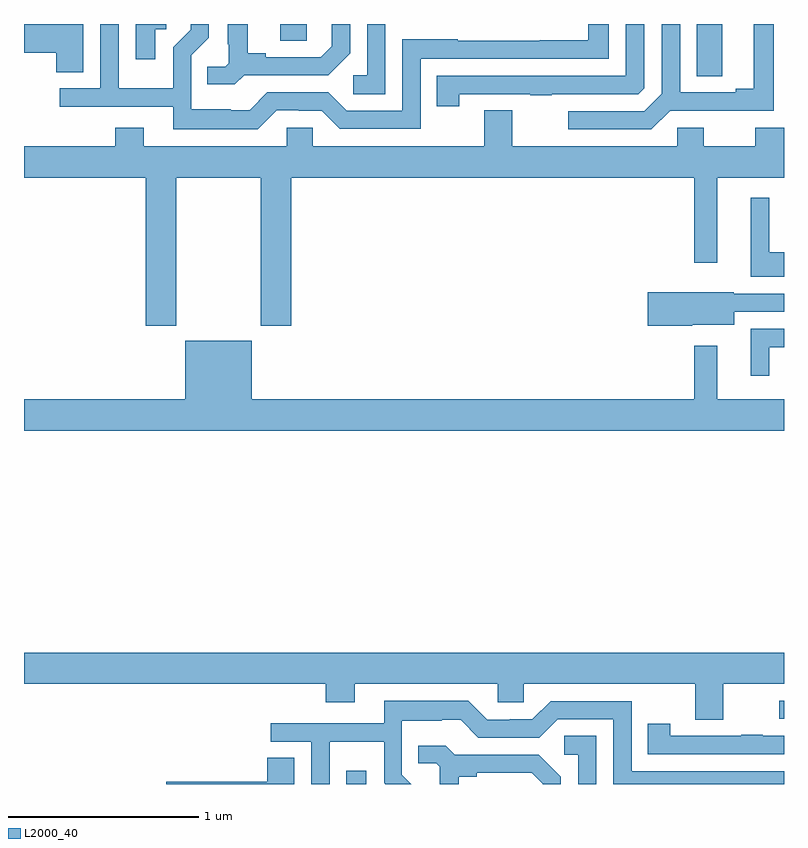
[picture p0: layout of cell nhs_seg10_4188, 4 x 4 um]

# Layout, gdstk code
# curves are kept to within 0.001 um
import gdstk
lib = gdstk.Library(unit=1e-6, precision=1e-09)
def R(c, l, rs):  # rectangles x0, y0, x1, y1
    for r in rs: c.add(gdstk.rectangle(r[:2], r[2:], *l))
def P(c, l, *ps):  # polygons
    for p in ps: c.add(gdstk.Polygon(p, *l))
L2000_40 = (2000, 40)

nhs_seg10_4188 = lib.new_cell('nhs_seg10_4188')
R(nhs_seg10_4188, L2000_40, [(346.697,1254.5,346.801,1254.571), (348.975,1254.843,349,1254.939), (348.542,1258.225,348.676,1258.5), (346.349,1258.411,346.488,1258.5)])
P(nhs_seg10_4188, L2000_40, [(346.158,1258.23),(346.6,1258.23),(346.716,1258.346),(346.716,1258.5),(346.619,1258.5),(346.619,1258.383),(346.562,1258.326),(346.273,1258.326),(346.273,1258.346),(346.177,1258.346),(346.177,1258.5),(346.073,1258.5),(346.073,1258.393),(346.077,1258.393),(346.077,1258.293),(346.059,1258.275),(345.964,1258.275),(345.964,1258.183),(346.11,1258.183)],
  [(346.902,1258.5),(346.806,1258.5),(346.806,1258.23),(346.734,1258.23),(346.734,1258.129),(346.902,1258.129)],
  [(345.313,1258.5),(345,1258.5),(345,1258.349),(345.17,1258.349),(345.17,1258.246),(345.313,1258.246)],
  [(345.691,1258.473),(345.748,1258.473),(345.748,1258.5),(345.587,1258.5),(345.587,1258.314),(345.691,1258.314)],
  [(348.4,1258.044),(348.946,1258.044),(348.946,1258.5),(348.842,1258.5),(348.842,1258.16),(348.746,1258.16),(348.746,1258.14),(348.453,1258.14),(348.453,1258.5),(348.357,1258.5),(348.357,1258.134),(348.264,1258.041),(347.865,1258.041),(347.865,1257.945),(348.301,1257.945)],
  [(347.292,1258.131),(347.665,1258.131),(347.665,1258.126),(347.777,1258.126),(347.777,1258.131),(348.234,1258.131),(348.264,1258.161),(348.264,1258.5),(348.168,1258.5),(348.168,1258.227),(347.173,1258.227),(347.173,1258.068),(347.292,1258.068)],
  [(346.329,1258.047),(346.446,1258.047),(346.446,1258.044),(346.566,1258.044),(346.662,1257.948),(347.088,1257.948),(347.088,1258.317),(348.078,1258.317),(348.078,1258.5),(347.97,1258.5),(347.97,1258.414),(347.283,1258.413),(347.283,1258.42),(346.992,1258.42),(346.992,1258.044),(346.698,1258.044),(346.602,1258.14),(346.281,1258.14),(346.188,1258.047),(346.088,1258.047),(346.088,1258.051),(345.879,1258.051),(345.879,1258.335),(345.972,1258.428),(345.972,1258.5),(345.878,1258.5),(345.878,1258.47),(345.786,1258.378),(345.786,1258.162),(345.498,1258.162),(345.498,1258.5),(345.402,1258.5),(345.402,1258.161),(345.189,1258.161),(345.189,1258.065),(345.785,1258.065),(345.785,1257.947),(346.229,1257.947)],
  [(345.801,1257.692),(346.246,1257.692),(346.246,1256.913),(346.406,1256.913),(346.406,1257.692),(348.528,1257.692),(348.528,1257.243),(348.649,1257.243),(348.649,1257.692),(349,1257.692),(349,1257.955),(348.848,1257.955),(348.848,1257.856),(348.577,1257.856),(348.577,1257.954),(348.438,1257.954),(348.438,1257.856),(347.569,1257.856),(347.569,1258.046),(347.422,1258.046),(347.422,1257.856),(346.521,1257.856),(346.521,1257.954),(346.383,1257.954),(346.383,1257.856),(345.631,1257.856),(345.631,1257.955),(345.479,1257.955),(345.479,1257.856),(345,1257.856),(345,1257.692),(345.641,1257.692),(345.641,1256.913),(345.801,1256.913)],
  [(349,1257.298),(348.922,1257.298),(348.922,1257.586),(348.824,1257.586),(348.824,1257.17),(349,1257.17)],
  [(348.516,1256.918),(348.739,1256.918),(348.739,1256.985),(349,1256.985),(349,1257.081),(348.735,1257.081),(348.735,1257.089),(348.282,1257.089),(348.282,1256.911),(348.516,1256.911)],
  [(348.922,1256.799),(349,1256.799),(349,1256.895),(348.824,1256.895),(348.824,1256.649),(348.922,1256.649)],
  [(349,1256.524),(348.649,1256.524),(348.649,1256.806),(348.528,1256.806),(348.528,1256.524),(346.198,1256.524),(346.198,1256.833),(345.848,1256.833),(345.848,1256.524),(345,1256.524),(345,1256.36),(349,1256.36)],
  [(348.679,1255.028),(349,1255.028),(349,1255.192),(345,1255.192),(345,1255.028),(346.589,1255.028),(346.589,1254.929),(346.741,1254.929),(346.741,1255.028),(347.493,1255.028),(347.493,1254.93),(347.631,1254.93),(347.631,1255.028),(348.532,1255.028),(348.532,1254.838),(348.679,1254.838)],
  [(346.608,1254.722),(346.896,1254.722),(346.896,1254.506),(346.902,1254.5),(347.038,1254.5),(346.989,1254.549),(346.989,1254.833),(347.198,1254.833),(347.198,1254.837),(347.298,1254.837),(347.391,1254.744),(347.712,1254.744),(347.808,1254.84),(348.102,1254.84),(348.102,1254.5),(349,1254.5),(349,1254.567),(348.198,1254.567),(348.198,1254.936),(347.772,1254.936),(347.676,1254.84),(347.556,1254.84),(347.556,1254.837),(347.439,1254.837),(347.339,1254.937),(346.895,1254.937),(346.895,1254.819),(346.299,1254.819),(346.299,1254.723),(346.512,1254.723),(346.512,1254.5),(346.608,1254.5)],
  [(349,1254.753),(348.887,1254.753),(348.887,1254.758),(348.775,1254.758),(348.775,1254.753),(348.402,1254.753),(348.402,1254.817),(348.283,1254.817),(348.283,1254.657),(349,1254.657)],
  [(348.012,1254.755),(347.844,1254.755),(347.844,1254.654),(347.916,1254.654),(347.916,1254.5),(348.012,1254.5)],
  [(347.287,1254.538),(347.383,1254.538),(347.383,1254.558),(347.672,1254.558),(347.729,1254.5),(347.826,1254.5),(347.826,1254.538),(347.71,1254.654),(347.268,1254.654),(347.22,1254.701),(347.074,1254.701),(347.074,1254.609),(347.169,1254.609),(347.187,1254.591),(347.187,1254.5),(347.287,1254.5)],
  [(346.423,1254.638),(346.28,1254.638),(346.28,1254.512),(345.749,1254.512),(345.749,1254.5),(346.423,1254.5)])

lib.write_gds('nhs_seg10_4188.gds')
